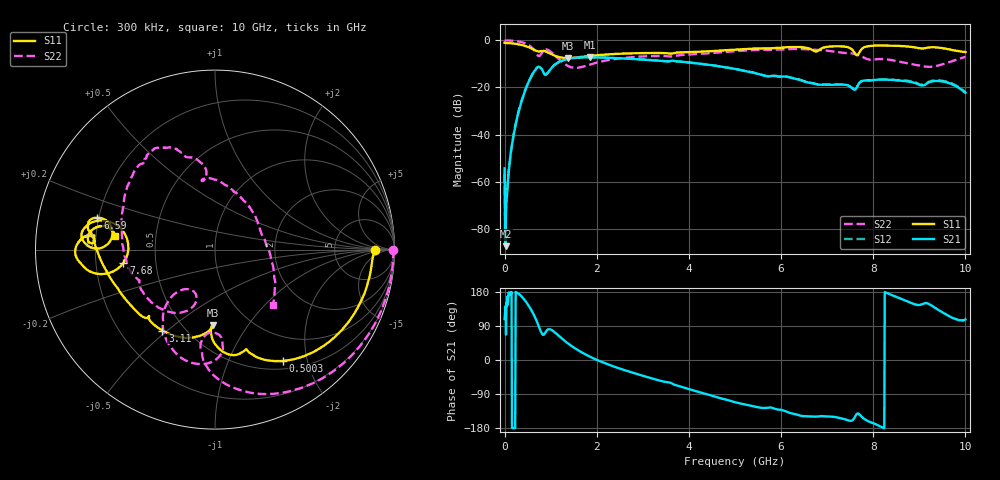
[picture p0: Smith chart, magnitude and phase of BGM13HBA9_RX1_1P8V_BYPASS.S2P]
!Agilent Technologies,E5071C,MY46316587,B.13.01
!Date: Thu Dec 07 13:12:00 2017
!Data & Calibration Information:
!Freq	S11:SOLT2(ON)	S21:SOLT2(ON)	S12:SOLT2(ON)	S22:SOLT2(ON)
!PortZ  Port1:50+j0  Port2:50+j0
!Above PortZ is port z conversion or system Z0 setting when saving the data.
!When reading, reference impedance value at option line is always used.
# Hz S dB R 50
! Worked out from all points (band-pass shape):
!   1001 points, 300 kHz to 10 GHz, reference 50 ohm
!   highest |S21| = -7.18 dB at 1.86 GHz (marker M1); lowest = -87.3 dB at 20.3 MHz (marker M2)
!   |S21| within 3 dB of the highest: 1.101 GHz to 4.334 GHz (3.233 GHz wide, 119 % of centre)
!   lowest |S11| = -7.5 dB at 1.38 GHz (marker M3), VSWR 2.46, Z = 34.1 - j35 ohm
!   |S11| at or under -10 dB: nowhere
!   |S22| runs from -11.7 to -0.1 dB; largest |S21 - S12| = 0.0058
!   S11 on the Smith chart (normalised r, x): 300 kHz: 17, -0; 500.3 MHz: 0.61, -1.61; 3.11 GHz: 0.38, -0.48; 6.59 GHz: 0.19, +0.13; 7.68 GHz: 0.32, -0.06; 10 GHz: 0.28, +0.06
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300000  -1.01 -0.1  -54.30 108.2  -56.67 -71.5  -0.06 -0.0
2.02994e7  -1.11 -2.9  -87.34 142.0  -74.38 177.8  -0.06 -3.1
6.02982e7  -1.15 -7.7  -63.73 167.1  -62.46 155.6  -0.06 -9.2
1.302961e8  -1.23 -16.2  -48.28 178.7  -48.34 177.4  -0.12 -19.8
2.302931e8  -1.44 -28.3  -36.79 -179.9  -36.24 179.8  -0.29 -35.1
5.00285e8  -2.77 -58.5  -18.59 147.2  -18.49 147.2  -1.78 -77.1
7.102787e8  -4.62 -72.3  -11.51 98.7  -11.46 98.7  -6.16 -97.4
1.030269e9  -6.05 -91.7  -11.45 78.5  -11.41 78.5  -5.31 -121.7
1.380259e9  -7.50 -91.8  -7.86 43.4  -7.84 43.6  -10.94 -128.6
1.67025e9  -7.03 -93.3  -7.24 20.4  -7.22 20.6  -11.33 -113.0
1.860244e9  -6.62 -96.1  -7.18 8.2  -7.17 8.5  -10.24 -110.0
3.110207e9  -5.38 -123.0  -8.27 -45.5  -8.29 -45.3  -6.73 -141.1
3.3402e9  -5.36 -128.8  -8.58 -53.5  -8.62 -53.4  -6.63 -149.5
5.00015e9  -3.94 -173.7  -12.15 -111.3  -12.09 -111.3  -4.59 148.3
6.590102e9  -3.36 164.8  -17.87 -148.7  -17.79 -148.6  -3.82 117.9
6.6701e9  -4.02 164.9  -18.22 -148.9  -18.14 -148.8  -3.94 116.6
6.870094e9  -3.52 179.5  -18.87 -148.2  -18.74 -148.2  -4.10 113.8
7.540074e9  -3.89 165.3  -20.26 -159.7  -20.15 -159.5  -5.54 103.6
7.68007e9  -5.76 -171.8  -18.66 -141.8  -18.55 -141.8  -6.29 98.7
8.34005e9  -2.20 179.1  -16.73 174.6  -16.66 174.5  -8.19 89.6
9.220023e9  -3.00 176.0  -17.75 146.9  -17.47 146.9  -11.26 19.6
1e10  -4.96 172.3  -22.27 107.0  -22.01 106.7  -7.03 -43.8
